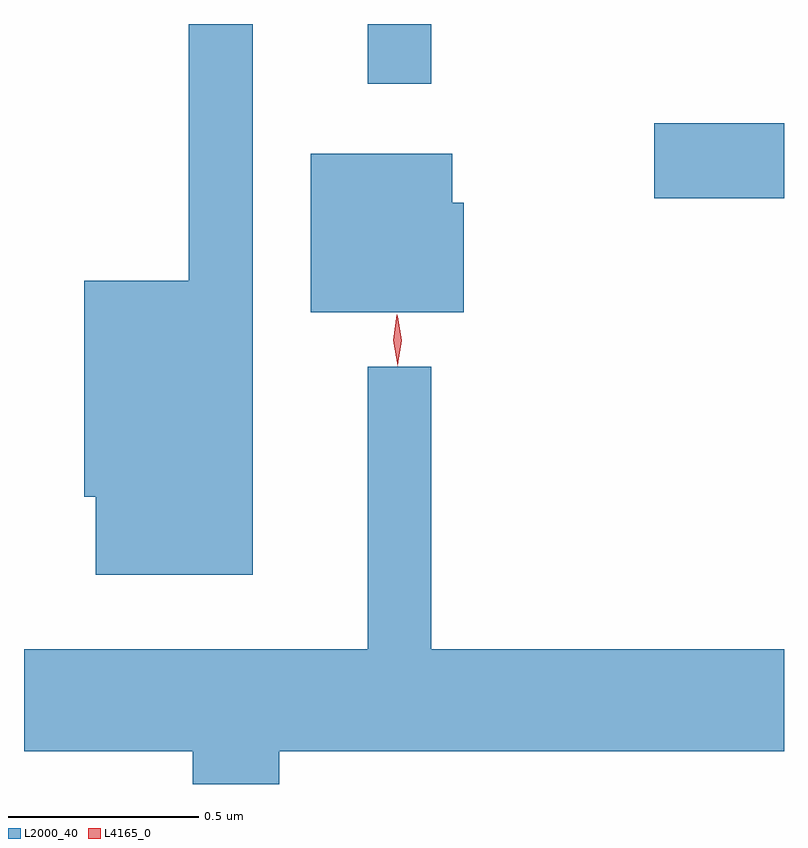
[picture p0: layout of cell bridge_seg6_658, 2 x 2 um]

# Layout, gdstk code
import gdstk
lib = gdstk.Library(unit=1e-6, precision=1e-09)
def R(c, l, rs):  # rectangles x0, y0, x1, y1
    for r in rs: c.add(gdstk.rectangle(r[:2], r[2:], *l))
def P(c, l, *ps):  # polygons
    for p in ps: c.add(gdstk.Polygon(p, *l))
L2000_40 = (2000, 40)
L4165_0 = (4165, 0)

bridge_seg6_658 = lib.new_cell('bridge_seg6_658')
R(bridge_seg6_658, L2000_40, [(251.916,1604.771,252.257,1604.969), (251.161,1605.073,251.329,1605.23)])
P(bridge_seg6_658, L2000_40, [(250.859,1605.23),(250.691,1605.23),(250.691,1604.554),(250.416,1604.554),(250.416,1603.986),(250.446,1603.986),(250.446,1603.781),(250.859,1603.781)],
  [(251.414,1604.759),(251.384,1604.759),(251.384,1604.889),(251.011,1604.889),(251.011,1604.471),(251.414,1604.471)],
  [(250.929,1603.316),(252.257,1603.316),(252.257,1603.584),(251.329,1603.584),(251.329,1604.328),(251.161,1604.328),(251.161,1603.584),(250.257,1603.584),(250.257,1603.316),(250.701,1603.316),(250.701,1603.23),(250.929,1603.23)])
P(bridge_seg6_658, L4165_0, [(251.24,1604.33),(251.24,1604.331),(251.229,1604.398),(251.238,1604.465),(251.238,1604.465),(251.239,1604.465),(251.249,1604.398),(251.241,1604.331)],
  [(251.241,1604.333),(251.24,1604.334),(251.231,1604.397),(251.24,1604.461),(251.241,1604.461),(251.241,1604.461),(251.251,1604.397),(251.241,1604.334)])

lib.write_gds('bridge_seg6_658.gds')
